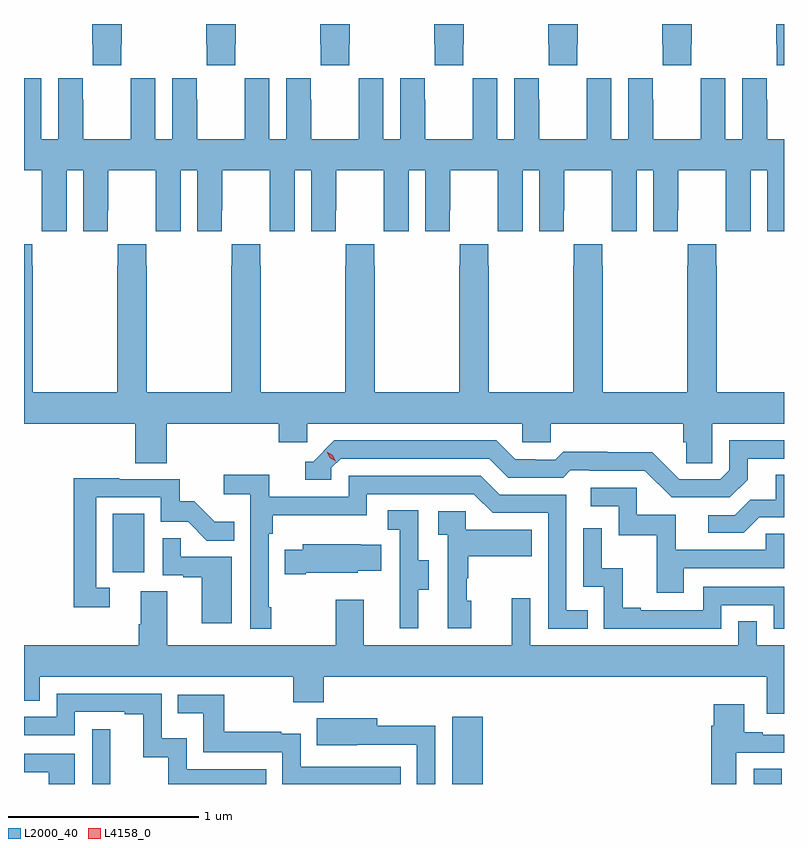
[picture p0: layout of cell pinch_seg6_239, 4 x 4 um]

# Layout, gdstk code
import gdstk
lib = gdstk.Library(unit=1e-6, precision=1e-09)
def R(c, l, rs):  # rectangles x0, y0, x1, y1
    for r in rs: c.add(gdstk.rectangle(r[:2], r[2:], *l))
def P(c, l, *ps):  # polygons
    for p in ps: c.add(gdstk.Polygon(p, *l))
L2000_40 = (2000, 40)
L4158_0 = (4158, 0)

pinch_seg6_239 = lib.new_cell('pinch_seg6_239')
R(pinch_seg6_239, L2000_40, [(1104.27,930.787,1104.367,931.075), (1106.165,930.787,1106.326,931.141), (1107.752,930.787,1107.901,930.866), (1104.38,931.902,1104.544,932.209)])
P(pinch_seg6_239, L2000_40, [(1106.671,934.681),(1106.673,934.681),(1106.673,934.569),(1106.823,934.569),(1106.823,934.681),(1106.826,934.681),(1106.826,934.787),(1106.671,934.787)],
  [(1107.423,934.681),(1107.426,934.681),(1107.426,934.787),(1107.271,934.787),(1107.271,934.681),(1107.273,934.681),(1107.273,934.569),(1107.423,934.569)],
  [(1107.912,934.787),(1107.871,934.787),(1107.871,934.681),(1107.873,934.681),(1107.873,934.569),(1107.912,934.569)],
  [(1104.423,934.681),(1104.426,934.681),(1104.426,934.787),(1104.271,934.787),(1104.271,934.681),(1104.273,934.681),(1104.273,934.569),(1104.423,934.569)],
  [(1105.023,934.681),(1105.026,934.681),(1105.026,934.787),(1104.871,934.787),(1104.871,934.681),(1104.873,934.681),(1104.873,934.569),(1105.023,934.569)],
  [(1105.623,934.681),(1105.626,934.681),(1105.626,934.787),(1105.471,934.787),(1105.471,934.681),(1105.473,934.681),(1105.473,934.569),(1105.623,934.569)],
  [(1106.223,934.681),(1106.226,934.681),(1106.226,934.787),(1106.071,934.787),(1106.071,934.681),(1106.073,934.681),(1106.073,934.569),(1106.223,934.569)],
  [(1105.205,933.808),(1105.206,933.808),(1105.206,933.696),(1105.336,933.696),(1105.336,934.016),(1105.424,934.016),(1105.424,933.696),(1105.554,933.696),(1105.554,933.808),(1105.555,933.808),(1105.555,934.016),(1105.805,934.016),(1105.805,933.808),(1105.806,933.808),(1105.806,933.696),(1105.936,933.696),(1105.936,934.016),(1106.024,934.016),(1106.024,933.696),(1106.154,933.696),(1106.154,933.808),(1106.155,933.808),(1106.155,934.016),(1106.405,934.016),(1106.405,933.808),(1106.406,933.808),(1106.406,933.696),(1106.536,933.696),(1106.536,934.016),(1106.624,934.016),(1106.624,933.696),(1106.754,933.696),(1106.754,933.808),(1106.755,933.808),(1106.755,934.016),(1107.005,934.016),(1107.005,933.808),(1107.006,933.808),(1107.006,933.696),(1107.136,933.696),(1107.136,934.016),(1107.224,934.016),(1107.224,933.696),(1107.354,933.696),(1107.354,933.808),(1107.355,933.808),(1107.355,934.016),(1107.605,934.016),(1107.605,933.808),(1107.606,933.808),(1107.606,933.696),(1107.736,933.696),(1107.736,934.016),(1107.824,934.016),(1107.824,933.696),(1107.912,933.696),(1107.912,934.18),(1107.823,934.18),(1107.823,934.388),(1107.822,934.388),(1107.822,934.501),(1107.692,934.501),(1107.692,934.18),(1107.604,934.18),(1107.604,934.501),(1107.474,934.501),(1107.474,934.388),(1107.473,934.388),(1107.473,934.18),(1107.223,934.18),(1107.223,934.388),(1107.222,934.388),(1107.222,934.501),(1107.092,934.501),(1107.092,934.18),(1107.004,934.18),(1107.004,934.501),(1106.874,934.501),(1106.874,934.388),(1106.873,934.388),(1106.873,934.18),(1106.623,934.18),(1106.623,934.388),(1106.622,934.388),(1106.622,934.501),(1106.492,934.501),(1106.492,934.18),(1106.404,934.18),(1106.404,934.501),(1106.274,934.501),(1106.274,934.388),(1106.273,934.388),(1106.273,934.18),(1106.023,934.18),(1106.023,934.388),(1106.022,934.388),(1106.022,934.501),(1105.892,934.501),(1105.892,934.18),(1105.804,934.18),(1105.804,934.501),(1105.674,934.501),(1105.674,934.388),(1105.673,934.388),(1105.673,934.18),(1105.423,934.18),(1105.423,934.388),(1105.422,934.388),(1105.422,934.501),(1105.292,934.501),(1105.292,934.18),(1105.204,934.18),(1105.204,934.501),(1105.074,934.501),(1105.074,934.388),(1105.073,934.388),(1105.073,934.18),(1104.823,934.18),(1104.823,934.388),(1104.822,934.388),(1104.822,934.501),(1104.692,934.501),(1104.692,934.18),(1104.604,934.18),(1104.604,934.501),(1104.474,934.501),(1104.474,934.388),(1104.473,934.388),(1104.473,934.18),(1104.223,934.18),(1104.223,934.388),(1104.222,934.388),(1104.222,934.501),(1104.092,934.501),(1104.092,934.18),(1104.004,934.18),(1104.004,934.501),(1103.912,934.501),(1103.912,934.016),(1104.005,934.016),(1104.005,933.808),(1104.006,933.808),(1104.006,933.696),(1104.136,933.696),(1104.136,934.016),(1104.224,934.016),(1104.224,933.696),(1104.354,933.696),(1104.354,933.808),(1104.355,933.808),(1104.355,934.016),(1104.605,934.016),(1104.605,933.808),(1104.606,933.808),(1104.606,933.696),(1104.736,933.696),(1104.736,934.016),(1104.824,934.016),(1104.824,933.696),(1104.954,933.696),(1104.954,933.808),(1104.955,933.808),(1104.955,934.016),(1105.205,934.016)],
  [(1105.605,933.628),(1105.605,933.515),(1105.603,933.515),(1105.603,932.848),(1105.158,932.848),(1105.158,933.515),(1105.155,933.515),(1105.155,933.628),(1105.005,933.628),(1105.005,933.515),(1105.003,933.515),(1105.003,932.848),(1104.558,932.848),(1104.558,933.515),(1104.555,933.515),(1104.555,933.628),(1104.405,933.628),(1104.405,933.515),(1104.403,933.515),(1104.403,932.848),(1103.958,932.848),(1103.958,933.515),(1103.955,933.515),(1103.955,933.628),(1103.912,933.628),(1103.912,932.684),(1104.497,932.684),(1104.497,932.476),(1104.662,932.476),(1104.662,932.684),(1105.253,932.684),(1105.253,932.586),(1105.404,932.586),(1105.404,932.684),(1106.535,932.684),(1106.535,932.586),(1106.685,932.586),(1106.685,932.684),(1107.383,932.684),(1107.383,932.586),(1107.397,932.586),(1107.397,932.476),(1107.534,932.476),(1107.534,932.684),(1107.912,932.684),(1107.912,932.848),(1107.558,932.848),(1107.558,933.515),(1107.555,933.515),(1107.555,933.628),(1107.405,933.628),(1107.405,933.515),(1107.403,933.515),(1107.403,932.848),(1106.958,932.848),(1106.958,933.515),(1106.955,933.515),(1106.955,933.628),(1106.805,933.628),(1106.805,933.515),(1106.803,933.515),(1106.803,932.848),(1106.358,932.848),(1106.358,933.515),(1106.355,933.515),(1106.355,933.628),(1106.205,933.628),(1106.205,933.515),(1106.203,933.515),(1106.203,932.848),(1105.758,932.848),(1105.758,933.515),(1105.755,933.515),(1105.755,933.628)],
  [(1107.721,932.389),(1107.721,932.499),(1107.912,932.499),(1107.912,932.595),(1107.624,932.595),(1107.624,932.439),(1107.576,932.391),(1107.36,932.391),(1107.218,932.533),(1106.982,932.533),(1106.982,932.536),(1106.749,932.536),(1106.707,932.493),(1106.604,932.493),(1106.604,932.496),(1106.497,932.496),(1106.398,932.595),(1105.545,932.595),(1105.434,932.484),(1105.391,932.484),(1105.391,932.388),(1105.53,932.388),(1105.53,932.451),(1105.578,932.499),(1106.361,932.499),(1106.46,932.4),(1106.749,932.4),(1106.788,932.439),(1106.887,932.439),(1106.887,932.436),(1107.18,932.436),(1107.321,932.295),(1107.627,932.295)],
  [(1105.213,931.717),(1105.2,931.717),(1105.2,932.105),(1105.22,932.105),(1105.22,932.201),(1105.716,932.201),(1105.716,932.313),(1106.28,932.313),(1106.379,932.214),(1106.67,932.214),(1106.67,931.605),(1106.879,931.605),(1106.879,931.701),(1106.766,931.701),(1106.766,932.31),(1106.416,932.31),(1106.317,932.409),(1105.62,932.409),(1105.62,932.298),(1105.202,932.298),(1105.202,932.414),(1104.963,932.414),(1104.963,932.312),(1105.104,932.312),(1105.104,931.605),(1105.213,931.605)],
  [(1107.781,932.19),(1107.912,932.19),(1107.912,932.414),(1107.869,932.414),(1107.869,932.282),(1107.734,932.282),(1107.654,932.202),(1107.513,932.202),(1107.513,932.109),(1107.7,932.109)],
  [(1104.364,931.821),(1104.291,931.821),(1104.291,932.295),(1104.633,932.295),(1104.633,932.166),(1104.777,932.166),(1104.875,932.068),(1105.019,932.068),(1105.019,932.167),(1104.915,932.167),(1104.808,932.274),(1104.732,932.274),(1104.732,932.391),(1104.413,932.391),(1104.413,932.396),(1104.175,932.396),(1104.175,931.716),(1104.364,931.716)],
  [(1107.385,931.923),(1107.912,931.923),(1107.912,932.103),(1107.817,932.103),(1107.817,932.019),(1107.343,932.019),(1107.343,932.205),(1107.138,932.205),(1107.138,932.346),(1106.895,932.346),(1106.895,932.25),(1107.042,932.25),(1107.042,932.097),(1107.241,932.097),(1107.241,931.794),(1107.385,931.794)],
  [(1105.987,931.81),(1106.041,931.81),(1106.041,931.965),(1105.986,931.965),(1105.986,932.228),(1105.827,932.228),(1105.827,932.125),(1105.89,932.125),(1105.89,931.821),(1105.889,931.821),(1105.889,931.608),(1105.987,931.608)],
  [(1106.266,931.752),(1106.241,931.752),(1106.241,931.871),(1106.251,931.871),(1106.251,931.985),(1106.585,931.985),(1106.585,932.125),(1106.238,932.125),(1106.238,932.223),(1106.091,932.223),(1106.091,932.099),(1106.142,932.099),(1106.142,931.608),(1106.266,931.608)],
  [(1107.582,931.728),(1107.858,931.728),(1107.858,931.605),(1107.912,931.605),(1107.912,931.824),(1107.486,931.824),(1107.486,931.701),(1107.157,931.701),(1107.157,931.714),(1107.062,931.714),(1107.062,931.922),(1106.952,931.922),(1106.952,932.134),(1106.856,932.134),(1106.856,931.824),(1106.964,931.824),(1106.964,931.605),(1107.582,931.605)],
  [(1105.006,931.983),(1104.737,931.983),(1104.737,932.081),(1104.642,932.081),(1104.642,931.887),(1104.749,931.887),(1104.749,931.875),(1104.848,931.875),(1104.848,931.632),(1105.006,931.632)],
  [(1105.396,931.898),(1105.668,931.898),(1105.668,931.91),(1105.793,931.91),(1105.793,932.047),(1105.685,932.047),(1105.685,932.05),(1105.379,932.05),(1105.379,932.02),(1105.285,932.02),(1105.285,931.891),(1105.396,931.891)],
  [(1106.48,931.765),(1106.48,931.516),(1105.699,931.516),(1105.699,931.756),(1105.552,931.756),(1105.552,931.516),(1104.667,931.516),(1104.667,931.802),(1104.527,931.802),(1104.527,931.628),(1104.515,931.628),(1104.515,931.516),(1103.912,931.516),(1103.912,931.225),(1103.994,931.225),(1103.994,931.352),(1105.33,931.352),(1105.33,931.217),(1105.49,931.217),(1105.49,931.352),(1107.821,931.352),(1107.821,931.158),(1107.912,931.158),(1107.912,931.516),(1107.768,931.516),(1107.768,931.643),(1107.672,931.643),(1107.672,931.516),(1106.577,931.516),(1106.577,931.765)],
  [(1105.187,930.864),(1104.768,930.864),(1104.768,931.027),(1104.636,931.027),(1104.636,931.263),(1104.084,931.263),(1104.084,931.14),(1103.912,931.14),(1103.912,931.044),(1104.18,931.044),(1104.18,931.167),(1104.443,931.167),(1104.443,931.155),(1104.539,931.155),(1104.539,930.929),(1104.672,930.929),(1104.672,930.787),(1105.187,930.787)],
  [(1105.894,930.879),(1105.368,930.879),(1105.368,931.051),(1105.265,931.051),(1105.265,931.063),(1104.967,931.063),(1104.967,931.257),(1104.721,931.257),(1104.721,931.16),(1104.856,931.16),(1104.856,930.954),(1105.272,930.954),(1105.272,930.787),(1105.894,930.787)],
  [(1107.661,930.951),(1107.912,930.951),(1107.912,931.047),(1107.799,931.047),(1107.799,931.06),(1107.703,931.06),(1107.703,931.207),(1107.542,931.207),(1107.542,931.094),(1107.53,931.094),(1107.53,930.787),(1107.661,930.787)],
  [(1106.076,931.094),(1105.771,931.094),(1105.771,931.132),(1105.453,931.132),(1105.453,930.992),(1105.667,930.992),(1105.667,930.993),(1105.98,930.993),(1105.98,930.787),(1106.076,930.787)],
  [(1104.18,930.945),(1103.912,930.945),(1103.912,930.849),(1104.043,930.849),(1104.043,930.787),(1104.18,930.787)])
P(pinch_seg6_239, L4158_0, [(1105.553,932.485),(1105.522,932.504),(1105.506,932.536),(1105.506,932.536),(1105.506,932.536),(1105.537,932.517),(1105.554,932.485),(1105.554,932.485)])

lib.write_gds('pinch_seg6_239.gds')
